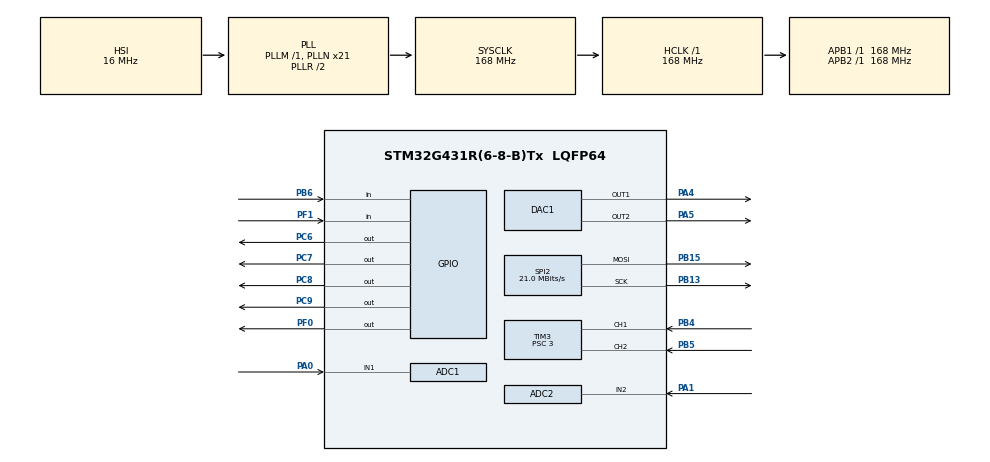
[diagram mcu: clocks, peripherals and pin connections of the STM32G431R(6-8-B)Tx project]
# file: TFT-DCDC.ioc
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ADC1.Channel-0\#ChannelRegularConversion=ADC_CHANNEL_1
ADC1.ContinuousConvMode=DISABLE
ADC1.NbrOfConversionFlag=1
ADC1.OffsetNumber-0\#ChannelRegularConversion=ADC_OFFSET_NONE
ADC1.Rank-0\#ChannelRegularConversion=1
ADC1.SamplingTime-0\#ChannelRegularConversion=ADC_SAMPLETIME_47CYCLES_5
ADC1.master=1
ADC2.Channel-0\#ChannelRegularConversion=ADC_CHANNEL_2
ADC2.NbrOfConversionFlag=1
ADC2.OffsetNumber-0\#ChannelRegularConversion=ADC_OFFSET_NONE
ADC2.Rank-0\#ChannelRegularConversion=1
ADC2.SamplingTime-0\#ChannelRegularConversion=ADC_SAMPLETIME_2CYCLES_5
DAC1.DAC_Channel-DAC_OUT2=DAC_CHANNEL_2
DAC1.DAC_OutputBuffer-DAC_OUT1=DAC_OUTPUTBUFFER_DISABLE
DAC1.DAC_OutputBuffer-DAC_OUT2=DAC_OUTPUTBUFFER_DISABLE
Mcu.Family=STM32G4
Mcu.Name=STM32G431R(6-8-B)Tx
Mcu.Package=LQFP64
NVIC.PriorityGroup=NVIC_PRIORITYGROUP_4
NVIC.TIM3_IRQn=true\:1\:0\:true\:false\:true\:true\:true\:true
NVIC.TIM4_IRQn=true\:2\:0\:true\:false\:true\:true\:true\:true
NVIC.TIM6_DAC_IRQn=true\:0\:0\:true\:false\:true\:true\:true\:true
PA0.Mode=IN1-Single-Ended
PA0.Signal=ADC1_IN1
PA1.Mode=IN2-Single-Ended
PA1.Signal=ADC2_IN2
PA13.Mode=Serial_Wire
PA13.Signal=SYS_JTMS-SWDIO
PA14.Mode=Serial_Wire
PA14.Signal=SYS_JTCK-SWCLK
PA4.Signal=COMP_DAC11_group
PA5.Signal=COMP_DAC12_group
PB13.Mode=TX_Only_Simplex_Unidirect_Master
PB13.Signal=SPI2_SCK
PB15.Mode=TX_Only_Simplex_Unidirect_Master
PB15.Signal=SPI2_MOSI
PB4.Signal=S_TIM3_CH1
PB5.Signal=S_TIM3_CH2
PB6.Signal=GPIO_Input
PC6.Signal=GPIO_Output
PC7.Signal=GPIO_Output
PC8.Signal=GPIO_Output
PC9.Signal=GPIO_Output
PF0-OSC_IN.Signal=GPIO_Output
PF1-OSC_OUT.GPIO_PuPd=GPIO_PULLUP
PF1-OSC_OUT.Signal=GPIO_Input
ProjectManager.HeapSize=0x200
ProjectManager.StackSize=0x400
ProjectManager.TargetToolchain=MDK-ARM V5.32
RCC.ADC12Freq_Value=168000000
RCC.AHBFreq_Value=168000000
RCC.APB1Freq_Value=168000000
RCC.APB1TimFreq_Value=168000000
RCC.APB2Freq_Value=168000000
RCC.APB2TimFreq_Value=168000000
RCC.CortexFreq_Value=168000000
RCC.EXTERNAL_CLOCK_VALUE=12288000
RCC.HCLKFreq_Value=168000000
RCC.HSE_VALUE=8000000
RCC.HSI48_VALUE=48000000
RCC.HSI_VALUE=16000000
RCC.LSE_VALUE=32768
RCC.PLLN=21
RCC.SYSCLKFreq_VALUE=168000000
RCC.SYSCLKSource=RCC_SYSCLKSOURCE_PLLCLK
RCC.USBFreq_Value=168000000
RCC.VCOOutputFreq_Value=336000000
SH.COMP_DAC11_group.0=DAC1_OUT1,DAC_OUT1
SH.COMP_DAC12_group.0=DAC1_OUT2,DAC_OUT2
SH.S_TIM3_CH1.0=TIM3_CH1,Encoder_Interface
SH.S_TIM3_CH2.0=TIM3_CH2,Encoder_Interface
SPI2.BaudRatePrescaler=SPI_BAUDRATEPRESCALER_8
SPI2.CalculateBaudRate=21.0 MBits/s
SPI2.DataSize=SPI_DATASIZE_8BIT
SPI2.Direction=SPI_DIRECTION_2LINES
SPI2.Mode=SPI_MODE_MASTER
SPI2.VirtualType=VM_MASTER
TIM3.EncoderMode=TIM_ENCODERMODE_TI12
TIM3.IC1Filter=8
TIM3.IC1Polarity=TIM_ICPOLARITY_RISING
TIM3.IC2Filter=8
TIM3.IC2Polarity=TIM_ICPOLARITY_FALLING
TIM3.PeriodNoDither=20
TIM3.Prescaler=3
TIM4.AutoReloadPreload=TIM_AUTORELOAD_PRELOAD_ENABLE
TIM4.PeriodNoDither=49
TIM4.Prescaler=16800-1
TIM6.AutoReloadPreload=TIM_AUTORELOAD_PRELOAD_ENABLE
TIM6.PeriodNoDither=4999
TIM6.Prescaler=16800-1
VP_SYS_VS_DBSignals.Mode=DisableDeadBatterySignals
VP_TIM4_VS_ClockSourceINT.Mode=Internal
VP_TIM6_VS_ClockSourceINT.Mode=Enable_Timer
board=custom

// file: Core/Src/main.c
/* USER CODE BEGIN Header */
/**
  ******************************************************************************
  * @file           : main.c
  * @brief          : Main program body
  ******************************************************************************
  * @attention
  *
  * <h2><center>&copy; Copyright (c) 2023 STMicroelectronics.
  * All rights reserved.</center></h2>
  *
  * This software component is licensed by ST under BSD 3-Clause license,
  * the "License"; You may not use this file except in compliance with the
  * License. You may obtain a copy of the License at:
  *                        opensource.org/licenses/BSD-3-Clause
  *
  ******************************************************************************
  */
/* USER CODE END Header */
#include "main.h"
#include "adc.h"
#include "dac.h"
#include "spi.h"
#include "tim.h"
#include "gpio.h"

/* USER CODE BEGIN Includes */
#include "lcd.h"
#include "stdio.h"
#include "multi_button.h"
#include "pwr_manage.h"
#include "PID.h"
/* USER CODE END Includes */

/* USER CODE BEGIN PTD */
float actvol = 0;
float actcurrent = 0;
extern unsigned char set[8];
extern unsigned char set1[8];
/* USER CODE END PTD */

void SystemClock_Config(void);

int main(void)
{

  /* MCU Configuration--------------------------------------------------------*/

  /* Reset of all peripherals, Initializes the Flash interface and the Systick. */
  HAL_Init();

  /* Configure the system clock */
  SystemClock_Config();

  /* USER CODE BEGIN SysInit */
	allbutton_init();
  /* USER CODE END SysInit */

  /* Initialize all configured peripherals */
  MX_GPIO_Init();
  MX_ADC1_Init();
  MX_DAC1_Init();
  MX_SPI2_Init();
  MX_TIM3_Init();
  MX_ADC2_Init();
  MX_TIM4_Init();
  MX_TIM6_Init();
  /* USER CODE BEGIN 2 */
	PID_init();
	Lcd_Init();
	LCD_Clear(BLACK);
	LCD_BLK_Set();
	BACK_COLOR=BLACK;
	show_set();
  /* USER CODE END 2 */

  /* Infinite loop */
  /* USER CODE BEGIN WHILE */
	unsigned int temp = 0;
	for(temp = 0;temp < 8;temp++)
	{
		set1[temp] = set[temp];
	}
  while (1)
  {
		actvol = GetVol();
		actcurrent = GetCurrent();
		set_parameter();
    /* USER CODE END WHILE */

  }
}

void SystemClock_Config(void)
{
  RCC_OscInitTypeDef RCC_OscInitStruct = {0};
  RCC_ClkInitTypeDef RCC_ClkInitStruct = {0};

  /** Configure the main internal regulator output voltage
  */
  HAL_PWREx_ControlVoltageScaling(PWR_REGULATOR_VOLTAGE_SCALE1_BOOST);

  /** Initializes the RCC Oscillators according to the specified parameters
  * in the RCC_OscInitTypeDef structure.
  */
  RCC_OscInitStruct.OscillatorType = RCC_OSCILLATORTYPE_HSI;
  RCC_OscInitStruct.HSIState = RCC_HSI_ON;
  RCC_OscInitStruct.HSICalibrationValue = RCC_HSICALIBRATION_DEFAULT;
  RCC_OscInitStruct.PLL.PLLState = RCC_PLL_ON;
  RCC_OscInitStruct.PLL.PLLSource = RCC_PLLSOURCE_HSI;
  RCC_OscInitStruct.PLL.PLLM = RCC_PLLM_DIV1;
  RCC_OscInitStruct.PLL.PLLN = 21;
  RCC_OscInitStruct.PLL.PLLP = RCC_PLLP_DIV2;
  RCC_OscInitStruct.PLL.PLLQ = RCC_PLLQ_DIV2;
  RCC_OscInitStruct.PLL.PLLR = RCC_PLLR_DIV2;
  if (HAL_RCC_OscConfig(&RCC_OscInitStruct) != HAL_OK)
  {
    Error_Handler();
  }

  /** Initializes the CPU, AHB and APB buses clocks
  */
  RCC_ClkInitStruct.ClockType = RCC_CLOCKTYPE_HCLK|RCC_CLOCKTYPE_SYSCLK
                              |RCC_CLOCKTYPE_PCLK1|RCC_CLOCKTYPE_PCLK2;
  RCC_ClkInitStruct.SYSCLKSource = RCC_SYSCLKSOURCE_PLLCLK;
  RCC_ClkInitStruct.AHBCLKDivider = RCC_SYSCLK_DIV1;
  RCC_ClkInitStruct.APB1CLKDivider = RCC_HCLK_DIV1;
  RCC_ClkInitStruct.APB2CLKDivider = RCC_HCLK_DIV1;

  if (HAL_RCC_ClockConfig(&RCC_ClkInitStruct, FLASH_LATENCY_4) != HAL_OK)
  {
    Error_Handler();
  }
}

void Error_Handler(void)
{
  __disable_irq();
  while (1)
  {
  }
}
